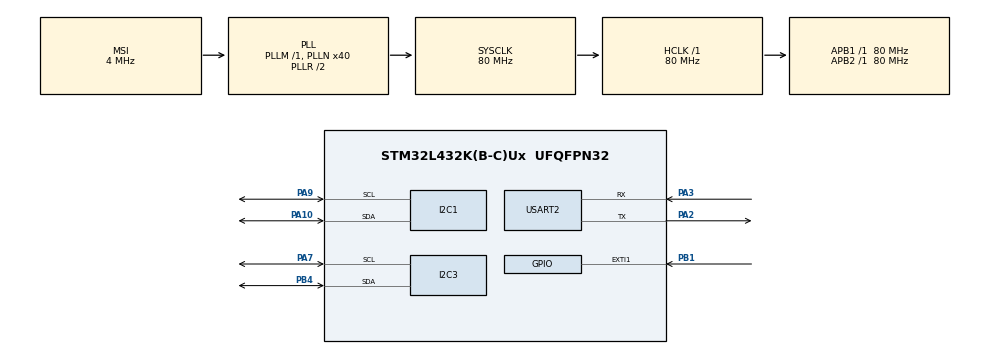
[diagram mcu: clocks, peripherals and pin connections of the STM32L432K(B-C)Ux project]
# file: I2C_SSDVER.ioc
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I2C1.Timing=0x10909CEC
I2C3.Timing=0x10909CEC
Mcu.Family=STM32L4
Mcu.Name=STM32L432K(B-C)Ux
Mcu.Package=UFQFPN32
NVIC.EXTI1_IRQn=true\:2\:0\:true\:false\:true\:true\:true\:true
NVIC.PriorityGroup=NVIC_PRIORITYGROUP_4
NVIC.USART2_IRQn=true\:3\:0\:true\:false\:true\:true\:true\:true
PA10.Mode=I2C
PA10.Signal=I2C1_SDA
PA13\ (JTMS-SWDIO).Mode=Serial_Wire
PA13\ (JTMS-SWDIO).Signal=SYS_JTMS-SWDIO
PA14\ (JTCK-SWCLK).Mode=Serial_Wire
PA14\ (JTCK-SWCLK).Signal=SYS_JTCK-SWCLK
PA2.Mode=Asynchronous
PA2.Signal=USART2_TX
PA3.Mode=Asynchronous
PA3.Signal=USART2_RX
PA7.Mode=I2C
PA7.Signal=I2C3_SCL
PA9.Mode=I2C
PA9.Signal=I2C1_SCL
PB1.Signal=GPXTI1
PB4\ (NJTRST).Mode=I2C
PB4\ (NJTRST).Signal=I2C3_SDA
ProjectManager.HeapSize=0x800
ProjectManager.StackSize=0x800
ProjectManager.TargetToolchain=MDK-ARM V5.32
RCC.AHBFreq_Value=80000000
RCC.APB1Freq_Value=80000000
RCC.APB1TimFreq_Value=80000000
RCC.APB2Freq_Value=80000000
RCC.APB2TimFreq_Value=80000000
RCC.CortexFreq_Value=80000000
RCC.HCLKFreq_Value=80000000
RCC.HSE_VALUE=8000000
RCC.HSI48_VALUE=48000000
RCC.HSI_VALUE=16000000
RCC.LSE_VALUE=32768
RCC.MSI_VALUE=4000000
RCC.PLLN=40
RCC.SYSCLKFreq_VALUE=80000000
RCC.SYSCLKSource=RCC_SYSCLKSOURCE_PLLCLK
RCC.VCOOutputFreq_Value=160000000
STMicroelectronics.X-CUBE-AI.8.1.0.ActivationBufferSizeList=12560
STMicroelectronics.X-CUBE-AI.8.1.0.ActivationBuffers=pool0
STMicroelectronics.X-CUBE-AI.8.1.0.ActivationNames=pool0
STMicroelectronics.X-CUBE-AI.8.1.0.ActivationSizes=AI_NETWORK_DATA_ACTIVATION_1_SIZE
STMicroelectronics.X-CUBE-AI.8.1.0.HeapSize=0x800
STMicroelectronics.X-CUBE-AI.8.1.0.InternalRamActivationBufferMaxSize=AI_NETWORK_DATA_ACTIVATIONS_SIZE
STMicroelectronics.X-CUBE-AI.8.1.0.MaximumNumberOfInputLayer=1
STMicroelectronics.X-CUBE-AI.8.1.0.MaximumNumberOfOutputLayer=1
STMicroelectronics.X-CUBE-AI.8.1.0.MaximumSizeOfInputLayer=1
STMicroelectronics.X-CUBE-AI.8.1.0.MaximumSizeOfOutputLayer=1
STMicroelectronics.X-CUBE-AI.8.1.0.ModelActualCompression-9025070485dbce698b13128f243be2c6f7ecd80a97c68fa43aa56a5aec2fdc0b=0.0
STMicroelectronics.X-CUBE-AI.8.1.0.ModelCompression-9025070485dbce698b13128f243be2c6f7ecd80a97c68fa43aa56a5aec2fdc0b=Lossless
STMicroelectronics.X-CUBE-AI.8.1.0.ModelFlashOccupation-9025070485dbce698b13128f243be2c6f7ecd80a97c68fa43aa56a5aec2fdc0b=211486
STMicroelectronics.X-CUBE-AI.8.1.0.ModelHashList=9025070485dbce698b13128f243be2c6f7ecd80a97c68fa43aa56a5aec2fdc0b
STMicroelectronics.X-CUBE-AI.8.1.0.ModelKind-9025070485dbce698b13128f243be2c6f7ecd80a97c68fa43aa56a5aec2fdc0b=KERAS
STMicroelectronics.X-CUBE-AI.8.1.0.ModelMacc-9025070485dbce698b13128f243be2c6f7ecd80a97c68fa43aa56a5aec2fdc0b=111552
STMicroelectronics.X-CUBE-AI.8.1.0.ModelName-9025070485dbce698b13128f243be2c6f7ecd80a97c68fa43aa56a5aec2fdc0b=network
STMicroelectronics.X-CUBE-AI.8.1.0.ModelNameList=network
STMicroelectronics.X-CUBE-AI.8.1.0.ModelRamOccupation-9025070485dbce698b13128f243be2c6f7ecd80a97c68fa43aa56a5aec2fdc0b=12560
STMicroelectronics.X-CUBE-AI.8.1.0.ModelStructureFile-9025070485dbce698b13128f243be2c6f7ecd80a97c68fa43aa56a5aec2fdc0b=F\:\\THE_LIBRARY\\CODE_BASE\\ROBOSERVO\\LSM6DSL\\i2c_oled_test_ssd1306_20231127\\I2C_SSDVER-m -nosingel\\I2C_SSDVER\\model_100in_1213_nosigel.h5
STMicroelectronics.X-CUBE-AI.8.1.0.ModelType-9025070485dbce698b13128f243be2c6f7ecd80a97c68fa43aa56a5aec2fdc0b=Saved model
STMicroelectronics.X-CUBE-AI.8.1.0.ReadyForCodeGeneration=true
STMicroelectronics.X-CUBE-AI.8.1.0.StackSize=0x800
STMicroelectronics.X-CUBE-AI.8.1.0.WorkingBufferStartAddrList=0xFFFFFFFF
STMicroelectronics.X-CUBE-AI.8.1.0.XAaCUBEAaAICcArtificialOoIntelligenceJjCore=true
STMicroelectronics.X-CUBE-AI.8.1.0.copyWeightToRam=false
STMicroelectronics.X-CUBE-AI.8.1.0.customLayerConfigEnabled=false
STMicroelectronics.X-CUBE-AI.8.1.0.noOnnxIoTranspose=false
STMicroelectronics.X-CUBE-AI.8.1.0.optimization=time
STMicroelectronics.X-CUBE-AI.8.1.0.useInputAllocation=true
STMicroelectronics.X-CUBE-AI.8.1.0.useOutputAllocation=true
USART2.VirtualMode-Asynchronous=VM_ASYNC
VP_CRC_VS_CRC.Mode=CRC_Activate
VP_STMicroelectronics.X-CUBE-AI_VS_ArtificialOoIntelligenceJjXAaCUBEAaAI_8.1.0.Mode=ArtificialOoIntelligenceJjXAaCUBEAaAI
board=custom

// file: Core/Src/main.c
/* USER CODE BEGIN Header */
/**
  ******************************************************************************
  * @file           : main.c
  * @brief          : Main program body
  ******************************************************************************
  * @attention
  *
  * Copyright (c) 2023 STMicroelectronics.
  * All rights reserved.
  *
  * This software is licensed under terms that can be found in the LICENSE file
  * in the root directory of this software component.
  * If no LICENSE file comes with this software, it is provided AS-IS.
  *
  ******************************************************************************
  */
/* USER CODE END Header */
#include "main.h"
#include "crc.h"
#include "i2c.h"
#include "gpio.h"
#include "usart.h"
/* USER CODE BEGIN Includes */
#include "math.h"
#include "lsm6dsl.h"
#include "lsm6dsl_reg.h"
#include <stdio.h>
#include <stdlib.h>
#include "ssd1306.h"
#include "ssd1306_tests.h"
////////////

#include "ai_platform.h"
#include "network.h"
#include "network_data.h"

/////
/////

/* USER CODE END Includes */

/* USER CODE BEGIN PTD */
#define MINI 					5
#define THRESH				1.01
#define NOISE				 200
#define DATA_INPUT_USER 		100
#define AXIS_NUMBER 			1
#define INT_MIN 3

#define DRAWLENGTH 12

///////////////////
uint8_t id = 0x00;
int start = 0;
lsm6dsl_axis3bit16_t data_raw;
volatile  uint32_t dataRdyIntReceived; // IT
stmdev_ctx_t dev_ctx;
static int32_t platform_write(void *handle, uint8_t Reg,
                              uint8_t *Bufp,
                              uint16_t len)
{
  if (handle == &hi2c1) {
    HAL_I2C_Mem_Write(handle, LSM6DSL_I2C_ADD_H, Reg,
                      I2C_MEMADD_SIZE_8BIT, Bufp, len, 1000);
  }

  return 0;
}

static int32_t platform_read(void *handle, uint8_t Reg, uint8_t *Bufp,
                             uint16_t len)
{
  if (handle == &hi2c1) {
    HAL_I2C_Mem_Read(handle, LSM6DSL_I2C_ADD_H, Reg,
                     I2C_MEMADD_SIZE_8BIT, Bufp, len, 1000);
  }

  return 0;
}
int fputc(int ch, FILE *fp)
{
  HAL_UART_Transmit(&huart2, (uint8_t *)&ch, 1,0xffff);
  return ch;
}
/////////////////////////

///////
////DRAW THE PICTURE
int times = 0;
int DRAW_POINT[DRAWLENGTH] = {63,63,63,63,63,63,63,63,63,63,63,63}; //127 * 63
int DRAW = -1;
int L_DRAW = -1;
////
///////AI PART

ai_handle network;
float aiInData[AI_NETWORK_IN_1_SIZE];
float aiOutData[AI_NETWORK_OUT_1_SIZE];
int output = 0;
uint32_t write_index = 0;
ai_buffer * ai_input;
ai_buffer * ai_output;
ai_u8 activations[AI_NETWORK_DATA_ACTIVATIONS_SIZE];
char* OUT[AI_NETWORK_OUT_1_SIZE ] = {
  "AM","C","DM","EM","F","G","..."
};
int count[AI_NETWORK_OUT_1_SIZE ] ={0};
uint32_t cls;

///////////
/* USER CODE END PTD */

/* USER CODE BEGIN PV */

void get_values(void); // get value
int strum_trigger(void); // trigger
static uint32_t argmax(const float * values, uint32_t len);
int argmax_threshold(int* array, int length, int threshold);
void normalize(float * array, int length);
/////////
void drawLineWithYCoords(int* yCoords, uint8_t length);
void shiftArray(int* arr, int length, int newHead) ;
int scaleToRange(int num);
//////////
static void AI_Init(void);
static void AI_Run(float *pIn, float *pOut);

/* USER CODE END PV */

void SystemClock_Config(void);

int main(void)
{

  /* MCU Configuration--------------------------------------------------------*/

  /* Reset of all peripherals, Initializes the Flash interface and the Systick. */
  HAL_Init();

  /* Configure the system clock */
  SystemClock_Config();

  /* Initialize all configured peripherals */
  MX_GPIO_Init();
  MX_I2C3_Init();
  MX_I2C1_Init();
  MX_CRC_Init();
	MX_USART2_UART_Init();
  /* USER CODE BEGIN 2 */

	///////// LSM PART //////////////
	dev_ctx.write_reg = platform_write;
	dev_ctx.read_reg = platform_read;
	dev_ctx.handle = &hi2c1;
	lsm6dsl_block_data_update_set(&dev_ctx, PROPERTY_ENABLE);
	lsm6dsl_xl_data_rate_set(&dev_ctx,LSM6DSL_XL_ODR_6k66Hz);
	lsm6dsl_xl_full_scale_set(&dev_ctx,LSM6DSL_4g);
	int status = 0;
	lsm6dsl_int1_route_t reg;
	status = lsm6dsl_pin_int1_route_get(&dev_ctx, &reg);
	reg.int1_drdy_xl = 1;
	status = lsm6dsl_pin_int1_route_set(&dev_ctx, reg);
	lsm6dsl_acceleration_raw_get(&dev_ctx,data_raw.i16bit);
	lsm6dsl_device_id_get(&dev_ctx, &id);
	////////////////////////////////////
	ssd1306_Init();
	AI_Init();

  drawLineWithYCoords(DRAW_POINT,DRAWLENGTH);
  /* USER CODE END 2 */

  /* Infinite loop */
  while (1)
  {

    /* USER CODE BEGIN 3 */

		start = strum_trigger();

		if (start != 0) {

			while(write_index < DATA_INPUT_USER){

					get_values();
					aiInData[write_index ] = data_raw.i16bit[0];

					write_index ++ ;
			}

			normalize(aiInData, AI_NETWORK_IN_1_SIZE);
			if(write_index == AI_NETWORK_IN_1_SIZE ){
					write_index = 0;
					AI_Run(aiInData, aiOutData);
				  cls = argmax(aiOutData, AI_NETWORK_OUT_1_SIZE);
					count[cls] +=1 ;
				}
		}
		else{

				output = argmax_threshold(count,AI_NETWORK_OUT_1_SIZE,0);

			if(output == -1){

				for (uint32_t i = 0; i < AI_NETWORK_OUT_1_SIZE; i++) {
						count[i] =0 ;
                 }
			 if(DRAW != -1){
					L_DRAW --;
				  if(L_DRAW ==-3){

					DRAW =-1;
					L_DRAW = -1;
					}
			 }

			}

			/////////////////////////
			if(output != -1){
			  DRAW = output;
				for (uint32_t i = 0; i < AI_NETWORK_OUT_1_SIZE; i++) {
						count[i] =0 ;
                 }

			}

		}

		}

  /* USER CODE END 3 */
}

void SystemClock_Config(void)
{
  RCC_OscInitTypeDef RCC_OscInitStruct = {0};
  RCC_ClkInitTypeDef RCC_ClkInitStruct = {0};

  /** Configure the main internal regulator output voltage
  */
  if (HAL_PWREx_ControlVoltageScaling(PWR_REGULATOR_VOLTAGE_SCALE1) != HAL_OK)
  {
    Error_Handler();
  }

  /** Initializes the RCC Oscillators according to the specified parameters
  * in the RCC_OscInitTypeDef structure.
  */
  RCC_OscInitStruct.OscillatorType = RCC_OSCILLATORTYPE_MSI;
  RCC_OscInitStruct.MSIState = RCC_MSI_ON;
  RCC_OscInitStruct.MSICalibrationValue = 0;
  RCC_OscInitStruct.MSIClockRange = RCC_MSIRANGE_6;
  RCC_OscInitStruct.PLL.PLLState = RCC_PLL_ON;
  RCC_OscInitStruct.PLL.PLLSource = RCC_PLLSOURCE_MSI;
  RCC_OscInitStruct.PLL.PLLM = 1;
  RCC_OscInitStruct.PLL.PLLN = 40;
  RCC_OscInitStruct.PLL.PLLP = RCC_PLLP_DIV7;
  RCC_OscInitStruct.PLL.PLLQ = RCC_PLLQ_DIV2;
  RCC_OscInitStruct.PLL.PLLR = RCC_PLLR_DIV2;
  if (HAL_RCC_OscConfig(&RCC_OscInitStruct) != HAL_OK)
  {
    Error_Handler();
  }

  /** Initializes the CPU, AHB and APB buses clocks
  */
  RCC_ClkInitStruct.ClockType = RCC_CLOCKTYPE_HCLK|RCC_CLOCKTYPE_SYSCLK
                              |RCC_CLOCKTYPE_PCLK1|RCC_CLOCKTYPE_PCLK2;
  RCC_ClkInitStruct.SYSCLKSource = RCC_SYSCLKSOURCE_PLLCLK;
  RCC_ClkInitStruct.AHBCLKDivider = RCC_SYSCLK_DIV1;
  RCC_ClkInitStruct.APB1CLKDivider = RCC_HCLK_DIV1;
  RCC_ClkInitStruct.APB2CLKDivider = RCC_HCLK_DIV1;

  if (HAL_RCC_ClockConfig(&RCC_ClkInitStruct, FLASH_LATENCY_4) != HAL_OK)
  {
    Error_Handler();
  }
}

/* USER CODE BEGIN 4 */

//////////////////////// PART NOAI//////////////////
void normalize(float * array, int length){
    double sum = 0.0, mean, standardDeviation = 0.0;

    int i;

    for(i = 0; i < length; ++i) {
        sum += array[i];
    }

    mean = sum/length;

    for(i = 0; i < length; ++i)
        standardDeviation += pow(array[i] - mean, 2);

    standardDeviation = sqrt(standardDeviation / length);

    /* normalization */
    for(i = 0; i < length; ++i)
        array[i] = (array[i] - mean) / standardDeviation;
}

int argmax_threshold(int* array, int length, int threshold) {
    int max_value = INT_MIN;
    int max_index = -1;
    for (int i = 0; i < length; i++) {
        if (array[i] > max_value) {
            max_value = array[i];
            max_index = i;
        }
    }
    if (max_value > threshold) {
        return max_index;
    } else {
        return -1;
    }
}

static uint32_t argmax(const float * values, uint32_t len)
{
  float max_value = values[0];
  uint32_t max_index = 0;
  for (uint32_t i = 1; i < len; i++) {
    if (values[i] > max_value) {
      max_value = values[i];
      max_index = i;
    }
  }
  return max_index;
}
int strum_trigger() {

			double ref_sum_x = 0.0, ref_sum_y = 0.0, ref_sum_z = 0.0;
			double new_sum_x = 0.0, new_sum_y = 0.0, new_sum_z = 0.0;
			double ref_avg_x = 0.0, ref_avg_y = 0.0, ref_avg_z = 0.0;
			double new_avg_x = 0.0, new_avg_y = 0.0, new_avg_z = 0.0;

    for(int i = 0; i < MINI ; i++)
		{
				get_values();
        ref_sum_x += data_raw.i16bit[0];
        ref_sum_y += data_raw.i16bit[1];
        ref_sum_z += data_raw.i16bit[2];

		}

    for (uint16_t i = 0; i < MINI ; i++) {
        get_values();
        new_sum_x += data_raw.i16bit[0];
        new_sum_y += data_raw.i16bit[1];
        new_sum_z += data_raw.i16bit[2];
    }

    new_avg_x = fabs(new_sum_x/MINI);
    new_avg_y = fabs(new_sum_y/MINI);
    new_avg_z = fabs(new_sum_z/MINI);
    ref_avg_x = fabs(ref_sum_x/MINI);
    ref_avg_y = fabs(ref_sum_y/MINI);
    ref_avg_z = fabs(ref_sum_z/MINI);

    if (new_avg_x > NOISE && new_avg_y > NOISE && new_avg_z > NOISE && new_avg_x > NOISE && new_avg_y > NOISE && new_avg_z > NOISE) {
        if (new_avg_x > ref_avg_x*THRESH || new_avg_y > ref_avg_y*THRESH || new_avg_z > ref_avg_z*THRESH) {
            return 1;
        } else {
            return 0;
        }
    } else {
        return 0;
    }
}

void get_values(){

	while(1){
		if (dataRdyIntReceived != 0) {
      dataRdyIntReceived = 0;
			lsm6dsl_acceleration_raw_get(&dev_ctx,data_raw.i16bit);

			if(start != 1){
			shiftArray(DRAW_POINT,DRAWLENGTH,scaleToRange(data_raw.i16bit[0]));
			drawLineWithYCoords(DRAW_POINT,DRAWLENGTH);
			}

			break;
		}
	}

}
void HAL_GPIO_EXTI_Callback(uint16_t GPIO_Pin){

		if(GPIO_Pin ==GPIO_PIN_1){

		 dataRdyIntReceived ++;

		}

		__HAL_GPIO_EXTI_CLEAR_IT(GPIO_Pin);
}
///////////////////////////////

void drawLineWithYCoords(int* yCoords, uint8_t length) {
    // Calculate the horizontal scaling factor
    uint8_t scaleX = SSD1306_WIDTH / (length - 1);

//		ssd1306_Fill_18(Black);
		ssd1306_Fill(Black);

		if(DRAW != -1){
			 ssd1306_SetCursor(2,0);
			 ssd1306_WriteString(OUT[DRAW], Font_11x18, White);
			printf(OUT[DRAW]);
			printf("\r\n");
//			 ssd1306_UpdateScreen();
		}
		else{
         ssd1306_SetCursor(2,0);
				 ssd1306_WriteString("...", Font_11x18, White);
//			 ssd1306_UpdateScreen();

		}
    // Set the initial position for drawing the line
    uint8_t startX = 0;
    uint8_t startY = yCoords[0];

    // Draw the line
    for (uint8_t i = 1; i < length; i++) {
        uint8_t endX = i * scaleX;
        uint8_t endY = yCoords[i];

        // Draw a line between the previous and current point
        ssd1306_Line(startX, startY, endX, endY,White);

        // Update the start position for the next line segment
        startX = endX;
        startY = endY;
    }

    // Update the screen to display the line
    ssd1306_UpdateScreen();
}

void shiftArray(int* arr, int length, int newHead) {
    // Shift the elements of the array one position to the right
    for (int i = length - 1; i > 0; i--) {
        arr[i] = arr[i - 1];
    }

    // Fill the head of the array with the given integer
    arr[0] = newHead;
}

int scaleToRange(int num) {
    // Ensure the number is within the range 0 to 63

		if( num < 400 && num > -400  ){
				num = 127 ;

		}
		else{

		 num = 127 - num;
		}
    int scaledNum = num % 64;

    // If the number was negative, adjust it to be within the range 0 to 63
    if (scaledNum < 0) {
        scaledNum += 64;
    }
		if (scaledNum < 18){

				 scaledNum += 18;

		}

    return scaledNum;
}
///////////DISPLAY////////////////

static void AI_Init(void)
{
  ai_error err;

  /* Create a local array with the addresses of the activations buffers */
  const ai_handle act_addr[] = { activations };
  /* Create an instance of the model */
  err = ai_network_create_and_init(&network, act_addr, NULL);
  if (err.type != AI_ERROR_NONE) {
    printf("ai_network_create error - type=%d code=%d\r\n", err.type, err.code);
    Error_Handler();
  }
  ai_input = ai_network_inputs_get(network, NULL);
  ai_output = ai_network_outputs_get(network, NULL);

}
static void AI_Run(float *pIn, float *pOut)
{
  ai_i32 batch;
  ai_error err;

  /* Update IO handlers with the data payload */
  ai_input[0].data = AI_HANDLE_PTR(pIn);
  ai_output[0].data = AI_HANDLE_PTR(pOut);

  batch = ai_network_run(network, ai_input, ai_output);
  if (batch != 1) {
    err = ai_network_get_error(network);
    printf("AI ai_network_run error - type=%d code=%d\r\n", err.type, err.code);
    Error_Handler();
  }
}

/////////////////////////
/* USER CODE END 4 */

void Error_Handler(void)
{
  __disable_irq();
  while (1)
  {
  }
}
